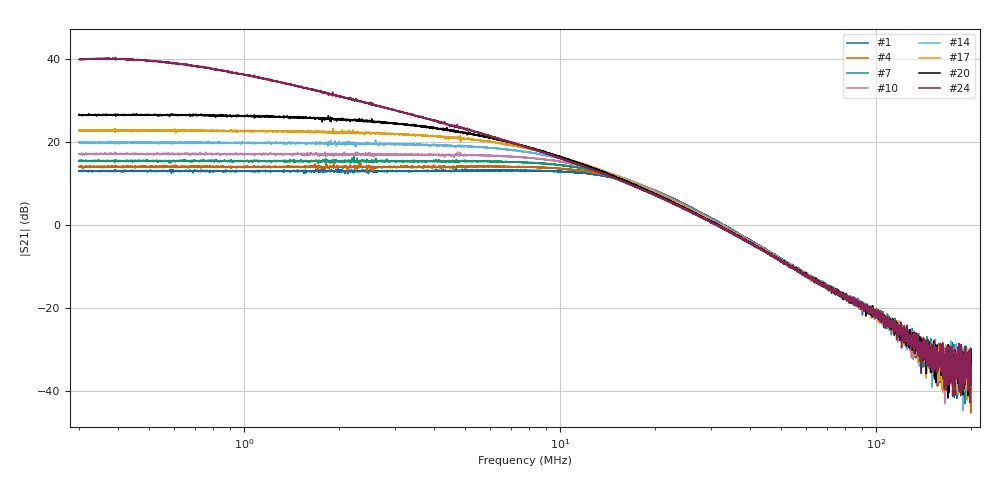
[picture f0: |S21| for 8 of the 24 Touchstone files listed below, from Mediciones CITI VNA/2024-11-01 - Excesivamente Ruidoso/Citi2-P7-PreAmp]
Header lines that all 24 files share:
# Hz S DB R 50
! CMT, M5065, 19127446, 24.2.4/2
! Data: Format (Calibration Info)
! Freq	S11:dB/Ang(F2)	S21:dB/Ang(F2)	S12:dB/Ang(F2)	S22:dB/Ang(F2)
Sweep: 300 kHz to 200 MHz
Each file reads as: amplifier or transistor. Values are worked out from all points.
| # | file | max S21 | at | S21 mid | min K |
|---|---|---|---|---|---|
| 1 | ganancia_40.s2p | 13.7 dB | 4.686 MHz | 13.1 dB at 7.749 MHz | -2113.59 |
| 2 | ganancia_41.s2p | 14.3 dB | 2.29 MHz | 13.4 dB at 7.749 MHz | -2143.77 |
| 3 | ganancia_42.s2p | 14.7 dB | 2.512 MHz | 13.6 dB at 7.749 MHz | -16904.82 |
| 4 | ganancia_43.s2p | 15.2 dB | 2.318 MHz | 14.0 dB at 7.749 MHz | -8144.82 |
| 5 | ganancia_44.s2p | 15.2 dB | 1.723 MHz | 14.4 dB at 7.749 MHz | -3919.32 |
| 6 | ganancia_45.s2p | 16.2 dB | 2.313 MHz | 14.7 dB at 7.749 MHz | -3947.14 |
| 7 | ganancia_46.s2p | 16.5 dB | 2.23 MHz | 15.0 dB at 7.749 MHz | -2758.67 |
| 8 | ganancia_47.s2p | 16.6 dB | 1.899 MHz | 15.4 dB at 7.749 MHz | -3841.53 |
| 9 | ganancia_48.s2p | 17.2 dB | 2.02 MHz | 15.9 dB at 7.749 MHz | -2489.47 |
| 10 | ganancia_49.s2p | 17.5 dB | 2.269 MHz | 16.1 dB at 7.749 MHz | -2664.97 |
| 11 | ganancia_50.s2p | 19.1 dB | 1.907 MHz | 16.5 dB at 7.749 MHz | -2209.72 |
| 12 | ganancia_51.s2p | 18.7 dB | 1.356 MHz | 16.9 dB at 7.749 MHz | -3896.53 |
| 13 | ganancia_52.s2p | 19.9 dB | 1.774 MHz | 17.3 dB at 7.749 MHz | -2463.69 |
| 14 | ganancia_53.s2p | 20.4 dB | 2.606 MHz | 17.6 dB at 7.749 MHz | -2654.01 |
| 15 | ganancia_54.s2p | 21.0 dB | 1.079 MHz | 17.9 dB at 7.749 MHz | -13398.80 |
| 16 | ganancia_55.s2p | 22.0 dB | 2.146 MHz | 18.1 dB at 7.749 MHz | -11778.40 |
| 17 | ganancia_56.s2p | 23.2 dB | 1.91 MHz | 18.5 dB at 7.749 MHz | -5436.76 |
| 18 | ganancia_57.s2p | 24.1 dB | 668.1 kHz | 18.6 dB at 7.749 MHz | -2610.97 |
| 19 | ganancia_58.s2p | 25.4 dB | 391.4 kHz | 18.8 dB at 7.749 MHz | -3330.51 |
| 20 | ganancia_59.s2p | 26.8 dB | 322.2 kHz | 18.9 dB at 7.749 MHz | -2608.93 |
| 21 | ganancia_60.s2p | 29.5 dB | 540.6 kHz | 19.1 dB at 7.749 MHz | -10791.84 |
| 22 | ganancia_61.s2p | 32.0 dB | 581.9 kHz | 19.0 dB at 7.749 MHz | -1923.76 |
| 23 | ganancia_62.s2p | 35.3 dB | 391.4 kHz | 18.9 dB at 7.749 MHz | -5271.69 |
| 24 | ganancia_63.s2p | 40.4 dB | 391.7 kHz | 18.9 dB at 7.749 MHz | -2060.77 |
